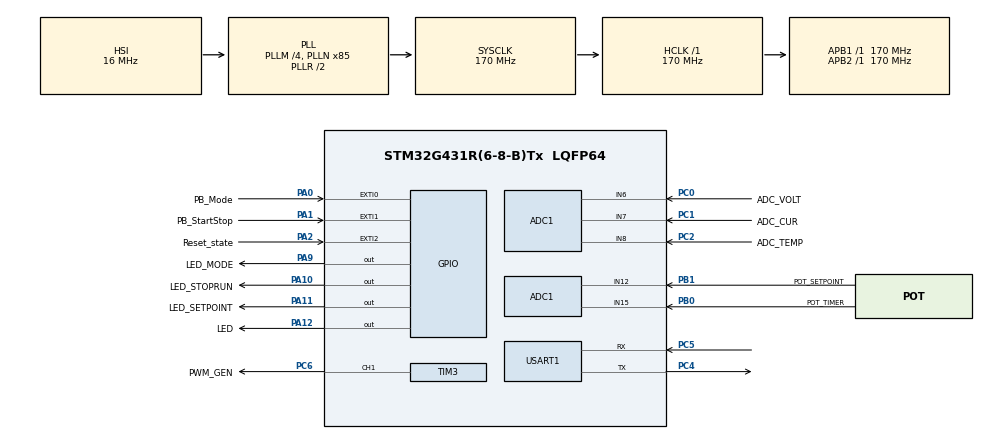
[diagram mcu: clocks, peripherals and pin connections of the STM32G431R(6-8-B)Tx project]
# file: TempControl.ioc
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ADC1.Channel-0\#ChannelRegularConversion=ADC_CHANNEL_6
ADC1.Channel-1\#ChannelRegularConversion=ADC_CHANNEL_7
ADC1.Channel-2\#ChannelRegularConversion=ADC_CHANNEL_8
ADC1.Channel-3\#ChannelRegularConversion=ADC_CHANNEL_12
ADC1.Channel-4\#ChannelRegularConversion=ADC_CHANNEL_15
ADC1.ContinuousConvMode=ENABLE
ADC1.DMAContinuousRequests=ENABLE
ADC1.NbrOfConversion=5
ADC1.NbrOfConversionFlag=1
ADC1.OffsetNumber-0\#ChannelRegularConversion=ADC_OFFSET_NONE
ADC1.OffsetNumber-1\#ChannelRegularConversion=ADC_OFFSET_NONE
ADC1.OffsetNumber-2\#ChannelRegularConversion=ADC_OFFSET_NONE
ADC1.OffsetNumber-3\#ChannelRegularConversion=ADC_OFFSET_NONE
ADC1.OffsetNumber-4\#ChannelRegularConversion=ADC_OFFSET_NONE
ADC1.Rank-0\#ChannelRegularConversion=1
ADC1.Rank-1\#ChannelRegularConversion=2
ADC1.Rank-2\#ChannelRegularConversion=3
ADC1.Rank-3\#ChannelRegularConversion=4
ADC1.Rank-4\#ChannelRegularConversion=5
ADC1.SamplingTime-0\#ChannelRegularConversion=ADC_SAMPLETIME_640CYCLES_5
ADC1.SamplingTime-1\#ChannelRegularConversion=ADC_SAMPLETIME_640CYCLES_5
ADC1.SamplingTime-2\#ChannelRegularConversion=ADC_SAMPLETIME_640CYCLES_5
ADC1.SamplingTime-3\#ChannelRegularConversion=ADC_SAMPLETIME_640CYCLES_5
ADC1.SamplingTime-4\#ChannelRegularConversion=ADC_SAMPLETIME_640CYCLES_5
ADC1.master=1
Dma.ADC1.0.Direction=DMA_PERIPH_TO_MEMORY
Dma.ADC1.0.EventEnable=DISABLE
Dma.ADC1.0.Instance=DMA1_Channel1
Dma.ADC1.0.MemDataAlignment=DMA_MDATAALIGN_HALFWORD
Dma.ADC1.0.MemInc=DMA_MINC_ENABLE
Dma.ADC1.0.Mode=DMA_CIRCULAR
Dma.ADC1.0.PeriphDataAlignment=DMA_PDATAALIGN_HALFWORD
Dma.ADC1.0.PeriphInc=DMA_PINC_DISABLE
Dma.ADC1.0.Polarity=HAL_DMAMUX_REQ_GEN_RISING
Dma.ADC1.0.Priority=DMA_PRIORITY_LOW
Dma.ADC1.0.RequestNumber=1
Dma.ADC1.0.SignalID=NONE
Dma.ADC1.0.SyncEnable=DISABLE
Dma.ADC1.0.SyncPolarity=HAL_DMAMUX_SYNC_NO_EVENT
Dma.ADC1.0.SyncRequestNumber=1
Dma.ADC1.0.SyncSignalID=NONE
Dma.Request0=ADC1
Mcu.Family=STM32G4
Mcu.Name=STM32G431R(6-8-B)Tx
Mcu.Package=LQFP64
NVIC.DMA1_Channel1_IRQn=true\:0\:0\:false\:false\:true\:false\:true\:true
NVIC.EXTI0_IRQn=true\:0\:0\:false\:false\:true\:true\:true\:true
NVIC.EXTI1_IRQn=true\:0\:0\:false\:false\:true\:true\:true\:true
NVIC.EXTI2_IRQn=true\:0\:0\:false\:false\:true\:true\:true\:true
NVIC.PriorityGroup=NVIC_PRIORITYGROUP_4
NVIC.TIM2_IRQn=true\:0\:0\:false\:false\:true\:true\:true\:true
NVIC.USART1_IRQn=true\:0\:0\:false\:false\:true\:true\:true\:true
PA0.GPIO_Label=PB_Mode
PA0.GPIO_ModeDefaultEXTI=GPIO_MODE_IT_RISING_FALLING
PA0.Signal=GPXTI0
PA1.GPIO_Label=PB_StartStop
PA1.GPIO_ModeDefaultEXTI=GPIO_MODE_IT_RISING_FALLING
PA1.Signal=GPXTI1
PA10.GPIO_Label=LED_STOPRUN
PA10.Signal=GPIO_Output
PA11.GPIO_Label=LED_SETPOINT
PA11.Signal=GPIO_Output
PA12.GPIO_Label=LED
PA12.Signal=GPIO_Output
PA2.GPIO_Label=Reset_state
PA2.GPIO_ModeDefaultEXTI=GPIO_MODE_IT_RISING_FALLING
PA2.Signal=GPXTI2
PA9.GPIO_Label=LED_MODE
PA9.Signal=GPIO_Output
PB0.GPIO_Label=POT_TIMER
PB0.Mode=IN15-Single-Ended
PB0.Signal=ADC1_IN15
PB1.GPIO_Label=POT_SETPOINT
PB1.Mode=IN12-Single-Ended
PB1.Signal=ADC1_IN12
PC0.GPIO_Label=ADC_VOLT
PC0.Mode=IN6-Single-Ended
PC0.Signal=ADC1_IN6
PC1.GPIO_Label=ADC_CUR
PC1.Mode=IN7-Single-Ended
PC1.Signal=ADC1_IN7
PC2.GPIO_Label=ADC_TEMP
PC2.Mode=IN8-Single-Ended
PC2.Signal=ADC1_IN8
PC4.Mode=Asynchronous
PC4.Signal=USART1_TX
PC5.Mode=Asynchronous
PC5.Signal=USART1_RX
PC6.GPIO_Label=PWM_GEN
PC6.Signal=S_TIM3_CH1
ProjectManager.HeapSize=0x200
ProjectManager.StackSize=0x400
ProjectManager.TargetToolchain=STM32CubeIDE
RCC.ADC12Freq_Value=170000000
RCC.AHBFreq_Value=170000000
RCC.APB1Freq_Value=170000000
RCC.APB1TimFreq_Value=170000000
RCC.APB2Freq_Value=170000000
RCC.APB2TimFreq_Value=170000000
RCC.CortexFreq_Value=170000000
RCC.EXTERNAL_CLOCK_VALUE=12288000
RCC.HCLKFreq_Value=170000000
RCC.HSE_VALUE=8000000
RCC.HSI48_VALUE=48000000
RCC.HSI_VALUE=16000000
RCC.LSE_VALUE=32768
RCC.PLLM=RCC_PLLM_DIV4
RCC.PLLN=85
RCC.SYSCLKFreq_VALUE=170000000
RCC.SYSCLKSource=RCC_SYSCLKSOURCE_PLLCLK
RCC.USBFreq_Value=170000000
RCC.VCOOutputFreq_Value=340000000
SH.S_TIM3_CH1.0=TIM3_CH1,PWM Generation1 CH1
TIM2.PeriodNoDither=100000-1
TIM2.Prescaler=170-1
TIM3.Channel-PWM\ Generation1\ CH1=TIM_CHANNEL_1
TIM3.PeriodNoDither=20000-1
TIM3.Prescaler=170-1
USART1.VirtualMode-Asynchronous=VM_ASYNC
VP_SYS_VS_DBSignals.Mode=DisableDeadBatterySignals
VP_TIM2_VS_ClockSourceINT.Mode=Internal
VP_TIM3_VS_ClockSourceINT.Mode=Internal
board=custom

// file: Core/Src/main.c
/* USER CODE BEGIN Header */
/**
  ******************************************************************************
  * @file           : main.c
  * @brief          : Main program body
  ******************************************************************************
  * @attention
  *
  * Copyright (c) 2024 STMicroelectronics.
  * All rights reserved.
  *
  * This software is licensed under terms that can be found in the LICENSE file
  * in the root directory of this software component.
  * If no LICENSE file comes with this software, it is provided AS-IS.
  *
  ******************************************************************************
  */
/* USER CODE END Header */
#include "main.h"
#include "adc.h"
#include "dma.h"
#include "tim.h"
#include "usart.h"
#include "gpio.h"

/* USER CODE BEGIN Includes */
#include "Calculation.h"
#include "Communication.h"
/* USER CODE END Includes */

/* USER CODE BEGIN PV */
	uint16_t ADC_Val[5];
	State *temp = &state;
	int duty = 5000;
	extern int flag_msg;
	extern char rcv_data[15];
/* USER CODE END PV */

void SystemClock_Config(void);

/* USER CODE BEGIN 0 */
//void HAL_UART_RxCpltCallback(UART_HandleTypeDef *huart) {
//    if (huart->Instance == huart1.Instance) {
//        parseData();
//        HAL_UART_Receive_IT(&huart1, (uint8_t*)&rcv_data, 50);
//    }
//}
/* USER CODE END 0 */

int main(void)
{

  /* MCU Configuration--------------------------------------------------------*/

  /* Reset of all peripherals, Initializes the Flash interface and the Systick. */
  HAL_Init();

  /* Configure the system clock */
  SystemClock_Config();

  /* Initialize all configured peripherals */
  MX_GPIO_Init();
  MX_DMA_Init();
  MX_ADC1_Init();
  MX_TIM3_Init();
  MX_USART1_UART_Init();
  MX_TIM2_Init();
  /* USER CODE BEGIN 2 */
  HAL_ADC_Start_DMA(&hadc1, (uint32_t*)&ADC_Val, 5);
  HAL_UART_Receive_IT(&huart1, (uint8_t*)&rcv_data, 15);
  HAL_TIM_PWM_Start(&htim3, TIM_CHANNEL_1);
  HAL_TIM_Base_Start_IT(&htim2);
  temp->mode_set = 'A';
  temp->StartStop = 'C';
  HAL_GPIO_WritePin(LED_MODE_GPIO_Port, LED_MODE_Pin, 1);
  /* USER CODE END 2 */

  /* Infinite loop */
  while (1)
  {

    /* USER CODE BEGIN 3 */
	  if(flag_msg == 1){
		  DataSend();
		  flag_msg = 0;
	  }
	  HAL_GPIO_WritePin(LED_GPIO_Port, LED_Pin, 1);
	  __HAL_TIM_SET_COMPARE(&htim3, TIM_CHANNEL_1,duty);
	  adc_conv();
	  parseData();
	  HAL_Delay(100);
  }
  /* USER CODE END 3 */
}

void SystemClock_Config(void)
{
  RCC_OscInitTypeDef RCC_OscInitStruct = {0};
  RCC_ClkInitTypeDef RCC_ClkInitStruct = {0};

  /** Configure the main internal regulator output voltage
  */
  HAL_PWREx_ControlVoltageScaling(PWR_REGULATOR_VOLTAGE_SCALE1_BOOST);

  /** Initializes the RCC Oscillators according to the specified parameters
  * in the RCC_OscInitTypeDef structure.
  */
  RCC_OscInitStruct.OscillatorType = RCC_OSCILLATORTYPE_HSI;
  RCC_OscInitStruct.HSIState = RCC_HSI_ON;
  RCC_OscInitStruct.HSICalibrationValue = RCC_HSICALIBRATION_DEFAULT;
  RCC_OscInitStruct.PLL.PLLState = RCC_PLL_ON;
  RCC_OscInitStruct.PLL.PLLSource = RCC_PLLSOURCE_HSI;
  RCC_OscInitStruct.PLL.PLLM = RCC_PLLM_DIV4;
  RCC_OscInitStruct.PLL.PLLN = 85;
  RCC_OscInitStruct.PLL.PLLP = RCC_PLLP_DIV2;
  RCC_OscInitStruct.PLL.PLLQ = RCC_PLLQ_DIV2;
  RCC_OscInitStruct.PLL.PLLR = RCC_PLLR_DIV2;
  if (HAL_RCC_OscConfig(&RCC_OscInitStruct) != HAL_OK)
  {
    Error_Handler();
  }

  /** Initializes the CPU, AHB and APB buses clocks
  */
  RCC_ClkInitStruct.ClockType = RCC_CLOCKTYPE_HCLK|RCC_CLOCKTYPE_SYSCLK
                              |RCC_CLOCKTYPE_PCLK1|RCC_CLOCKTYPE_PCLK2;
  RCC_ClkInitStruct.SYSCLKSource = RCC_SYSCLKSOURCE_PLLCLK;
  RCC_ClkInitStruct.AHBCLKDivider = RCC_SYSCLK_DIV1;
  RCC_ClkInitStruct.APB1CLKDivider = RCC_HCLK_DIV1;
  RCC_ClkInitStruct.APB2CLKDivider = RCC_HCLK_DIV1;

  if (HAL_RCC_ClockConfig(&RCC_ClkInitStruct, FLASH_LATENCY_4) != HAL_OK)
  {
    Error_Handler();
  }
}

void Error_Handler(void)
{
  __disable_irq();
  while (1)
  {
  }
}
